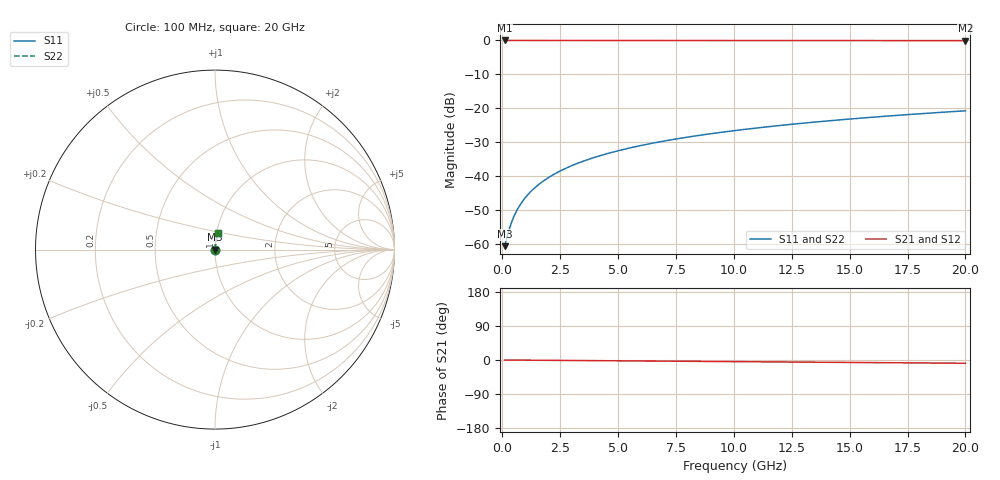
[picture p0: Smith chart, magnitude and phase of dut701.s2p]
! Touchstone file exported from HFSS 2026.1.0
!  File:  C:/ffzhzh/LocalFiles/Ansys_Project_Files/temp_train_TSV_701_1783181753_51560.aedt
!  Generated:  12:18:06 AM Jul  5, 2026
!  Design:  TSV
!  Project:  temp_train_TSV_701_1783181753_51560
! Variables:
!  h_bsmrdl = 2um
!  h_ox = 20um
!  h_rdl = 5um
!  h_sub = 63.7um
!  h_tmrdl = 5um
!  h_tsv = 63.7um
!  h_via = 3um
!  l_bsmrdl = 300um
!  l_sub = 406.14um
!  l_tmrdl = 200um
!  m_sub = 200um
!  pitch = 40.35um
!  r_tsv = 3.07um
!  s_tmrdl = 10um
!  w_bsmrdl = 18um
!  w_sub = 500um
!  w_tmrdl = 12um
!  x_tsv_center1 = 206um
!  x_tsv_center2 = 524um
!  x_tsv_center3 = 736um
!  x_tsv_center4 = 1054um
!  x_tsv_center5 = 1266um
!  x_tsv_center6 = 1584um
# GHz S MA R 50.000000
! Terminal data exported
! Port[1] = TSV1_1_T1
! Port[2] = TSV1_1_T2
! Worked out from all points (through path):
!   200 points, 100 MHz to 20 GHz, reference 50 ohm
!   highest |S21| = -0.01 dB at 100 MHz (marker M1); lowest = -0.1 dB at 20 GHz (marker M2)
!   group delay of S21, straight-line fit = 1.19 ps
!   lowest |S11| = -60.5 dB at 100 MHz (marker M3), VSWR 1.00, Z = 50.1 + j0.0491 ohm
!   |S11| at or under -10 dB: start of sweep to end of sweep
!   |S22| runs from -60.5 to -20.7 dB; largest |S21 - S12| = 4.2e-15
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0.1  0.0009415 31.4  0.9992 -0.0  0.9992 -0.0  0.0009415 31.4
! Gamma 0 0 0 0
! Port Impedance 50 0 50 0
0.2  0.001271 50.3  0.9992 -0.1  0.9992 -0.1  0.001271 50.3
0.3  0.001677 60.6  0.9992 -0.1  0.9992 -0.1  0.001677 60.6
0.4  0.002113 66.8  0.9992 -0.2  0.9992 -0.2  0.002113 66.8
0.5  0.002564 70.8  0.9992 -0.2  0.9992 -0.2  0.002564 70.8
0.6  0.003022 73.6  0.9992 -0.3  0.9992 -0.3  0.003022 73.6
0.8  0.003952 77.2  0.9991 -0.4  0.9991 -0.4  0.003952 77.2
1.1  0.005365 80.2  0.9991 -0.5  0.9991 -0.5  0.005365 80.2
1.5  0.007261 82.3  0.9991 -0.7  0.9991 -0.7  0.007261 82.3
1.8  0.008687 83.2  0.9991 -0.8  0.9991 -0.8  0.008687 83.2
2.1  0.01012 83.8  0.999 -0.9  0.999 -0.9  0.01012 83.8
2.7  0.01297 84.5  0.9989 -1.2  0.9989 -1.2  0.01297 84.5
3.5  0.01677 84.9  0.9988 -1.5  0.9988 -1.5  0.01677 84.9
4.2  0.02008 84.9  0.9987 -1.8  0.9987 -1.8  0.02008 84.9
5  0.02384 84.9  0.9985 -2.2  0.9985 -2.2  0.02384 84.9
5.9  0.02806 84.7  0.9983 -2.6  0.9983 -2.6  0.02806 84.7
6.8  0.03226 84.5  0.998 -3.0  0.998 -3.0  0.03226 84.5
8.3  0.03921 84.0  0.9976 -3.6  0.9976 -3.6  0.03921 84.0
10.1  0.04749 83.4  0.997 -4.4  0.997 -4.4  0.04749 83.4
13.4  0.06254 82.2  0.9959 -5.8  0.9959 -5.8  0.06254 82.2
16.7  0.07747 81.0  0.9946 -7.2  0.9946 -7.2  0.07747 81.0
20  0.09228 79.8  0.9931 -8.6  0.9931 -8.6  0.09228 79.8
